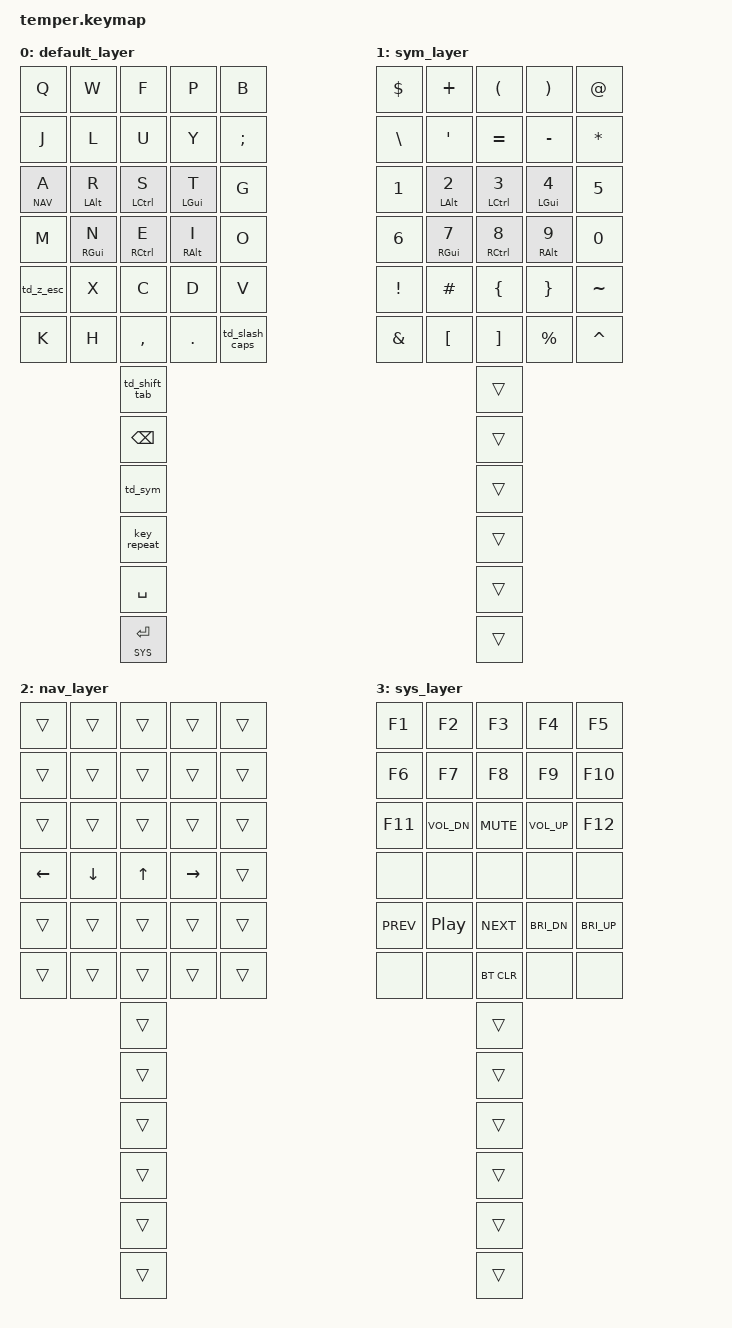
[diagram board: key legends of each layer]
#include <behaviors.dtsi>
#include <dt-bindings/zmk/bt.h>
#include <dt-bindings/zmk/keys.h>
#include <dt-bindings/zmk/modifiers.h>

#define DEFAULT 0
#define SYM     1
#define NAV     2
#define SYS     3

#define MEH     LS(LA(LCTRL))

#define RIGHT_KEYS \
    5  6  7  8  9 \
    15 16 17 18 19 \
    25 26 27 28 29

#define LEFT_KEYS \
    0  1  2  3  4 \
    10 11 12 13 14 \
    20 21 22 23 24

/ {
    behaviors {
        hml: home_row_mod_left {
            compatible = "zmk,behavior-hold-tap";
            #binding-cells = <2>;
            flavor = "balanced";
            require-prior-idle-ms = <150>;
            tapping-term-ms = <280>;

            quick-tap-ms = <175>;
            bindings = <&kp>, <&kp>;
            hold-trigger-key-positions = <
                RIGHT_KEYS
            >;
            hold-trigger-on-release;
        };

        hmr: home_row_mod_right {
            compatible = "zmk,behavior-hold-tap";
            #binding-cells = <2>;
            flavor = "balanced";
            require-prior-idle-ms = <150>;
            tapping-term-ms = <280>;

            quick-tap-ms = <175>;
            bindings = <&kp>, <&kp>;
            hold-trigger-key-positions = <
                LEFT_KEYS
            >;
            hold-trigger-on-release;
        };

        nav_a: nav_a {
            compatible = "zmk,behavior-hold-tap";
            #binding-cells = <2>;
            flavor = "tap-preferred";
            tapping-term-ms = <200>;
            quick-tap-ms = <175>;
            bindings = <&mo>, <&kp>;
            hold-trigger-key-positions = <
                5  6  7  8  9
                15 16 17 18 19
                25 26 27 28 29
            >;
        };

        meh_sym: meh_sym {
            compatible = "zmk,behavior-hold-tap";
            #binding-cells = <2>;
            flavor = "tap-preferred";
            tapping-term-ms = <200>;
            bindings = <&kp>, <&sl>;
        };

        sym_double: sym_double {
            compatible = "zmk,behavior-hold-tap";
            #binding-cells = <2>;
            flavor = "tap-preferred";
            tapping-term-ms = <200>;
            bindings = <&mo>, <&sl>;
        };

        td_sym: td_sym {
            compatible = "zmk,behavior-tap-dance";
            #binding-cells = <0>;
            tapping-term-ms = <175>;
            bindings = <
                &meh_sym MEH SYM
                &sym_double SYM SYM
            >;
        };

        td_shift_tab: td_shift_tab {
            compatible = "zmk,behavior-tap-dance";
            #binding-cells = <0>;
            tapping-term-ms = <200>;
            bindings = <&sk LSHIFT>, <&kp TAB>;
        };

        td_z_esc: td_z_esc {
            compatible = "zmk,behavior-tap-dance";
            #binding-cells = <0>;
            tapping-term-ms = <200>;
            bindings = <&kp Z>, <&kp ESC>;
        };
        td_slash_caps: td_slash_caps {
            compatible = "zmk,behavior-tap-dance";
            #binding-cells = <0>;
            tapping-term-ms = <200>;
            bindings = <&kp SLASH>, <&kp CAPS>;
        };
    };

    keymap {
        compatible = "zmk,keymap";

        default_layer {
            bindings = <
                &kp Q        &kp W        &kp F        &kp P       &kp B
                &kp J        &kp L        &kp U        &kp Y       &kp SEMI

                &nav_a NAV A &hml LALT R  &hml LCTRL S &hml LGUI T &kp G
                &kp M        &hmr RGUI N  &hmr RCTRL E &hmr RALT I &kp O

                &td_z_esc    &kp X        &kp C        &kp D       &kp V
                &kp K        &kp H        &kp COMMA    &kp DOT     &td_slash_caps

                                          &td_shift_tab
                                          &kp BSPC
                                          &td_sym

                                          &key_repeat
                                          &kp SPACE
                                          &lt SYS ENTER
            >;
        };

        sym_layer {
            bindings = <
                &kp DLLR &kp PLUS     &kp LPAR     &kp RPAR     &kp AT
                &kp BSLH &kp SQT      &kp EQUAL    &kp MINUS    &kp ASTRK

                &kp N1   &hml LALT N2 &hml LCTL N3 &hml LGUI N4 &kp N5
                &kp N6   &hmr RGUI N7 &hmr RCTL N8 &hmr RALT N9 &kp N0

                &kp EXCL &kp HASH     &kp LBRC     &kp RBRC     &kp TILDE
                &kp AMPS &kp LBKT     &kp RBKT     &kp PRCNT    &kp CARET

                                      &trans
                                      &trans
                                      &trans

                                      &trans
                                      &trans
                                      &trans
            >;
        };

        nav_layer {
            bindings = <
                &trans   &trans   &trans &trans    &trans
                &trans   &trans   &trans &trans    &trans

                &trans   &trans   &trans &trans    &trans
                &kp LEFT &kp DOWN &kp UP &kp RIGHT &trans

                &trans   &trans   &trans &trans    &trans

                &trans   &trans   &trans &trans    &trans

                                  &trans
                                  &trans
                                  &trans

                                  &trans
                                  &trans
                                  &trans
            >;
        };

        sys_layer {
            bindings = <
                &kp F1     &kp F2       &kp F3     &kp F4       &kp F5
                &kp F6     &kp F7       &kp F8     &kp F9       &kp F10

                &kp F11    &kp C_VOL_DN &kp C_MUTE &kp C_VOL_UP &kp F12
                &none      &none        &none      &none        &none

                &kp C_PREV     &kp C_PP       &kp C_NEXT      &kp C_BRI_DN    &kp C_BRI_UP
                &none          &none          &bt BT_CLR      &none     &none

                                        &trans
                                        &trans
                                        &trans
        
                                        &trans
                                        &trans
                                        &trans
            >;
        };
    };
};

/*
 * ====================================================================
 * LAYOUT REFERENCE
 * ====================================================================
 *
 * DEFAULT
 *
 * ┌────┬────┬────┬────┬────┐     ┌────┬────┬────┬────┬────┐
 * │ Q  │ W  │ F  │ P  │ B  │     │ J  │ L  │ U  │ Y  │ ;  │
 * ├────┼────┼────┼────┼────┤     ├────┼────┼────┼────┼────┤
 * │ A  │ R  │ S  │ T  │ G  │     │ M  │ N  │ E  │ I  │ O  │
 * │NAV │ALT │CTL │GUI │    │     │    │GUI │CTL │ALT │    │
 * ├────┼────┼────┼────┼────┤     ├────┼────┼────┼────┼────┤
 * │ Z  │ X  │ C  │ D  │ V  │     │ K  │ H  │ ,  │ .  │ /  │
 * │ESC │    │    │    │    │     │    │    │    │    │    │
 * └────┴────┴────┴────┴────┘     └────┴────┴────┴────┴────┘
 *
 * T1:
 *   tap          = Sticky Shift
 *   double tap   = Tab
 *
 * T2:
 *   = Backspace
 *
 * T3:
 *   tap          = one-shot SYM
 *   hold         = MEH
 *   double tap   = one-shot SYM
 *   double+hold  = momentary SYM
 *
 * T4:
 *   = Repeat
 *
 * T5:
 *   = Space
 *
 * T6:
 *   tap          = Enter
 *   hold         = SYS
 *
 *
 * SYMBOLS
 *
 * ┌────┬────┬────┬────┬────┐     ┌────┬────┬────┬────┬────┐
 * │ $  │ +  │ (  │ )  │ @  │     │ |  │ '  │ =  │ _  │ *  │
 * ├────┼────┼────┼────┼────┤     ├────┼────┼────┼────┼────┤
 * │ 1  │ 2  │ 3  │ 4  │ 5  │     │ 6  │ 7  │ 8  │ 9  │ 0  │
 * ├────┼────┼────┼────┼────┤     ├────┼────┼────┼────┼────┤
 * │ !  │ #  │ {  │ }  │ ~  │     │ &  │ [  │ ]  │ %  │ ^  │
 * └────┴────┴────┴────┴────┘     └────┴────┴────┴────┴────┘
 *
 *
 * NAV
 *
 * ┌────┬────┬────┬────┬────┐     ┌────┬────┬────┬────┬────┐
 * │    │    │    │    │    │     │    │    │    │    │    │
 * ├────┼────┼────┼────┼────┤     ├────┼────┼────┼────┼────┤
 * │    │    │    │    │    │     │ ←  │ ↓  │ ↑  │ →  │    │
 * ├────┼────┼────┼────┼────┤     ├────┼────┼────┼────┼────┤
 * │    │    │    │    │    │     │    │    │    │    │    │
 * └────┴────┴────┴────┴────┘     └────┴────┴────┴────┴────┘
 *
 *
 * SYS
 *
 * ┌──────┬──────┬──────┬──────┬──────┐     ┌──────┬──────┬──────┬──────┬──────┐
 * │  F1  │  F2  │  F3  │  F4  │  F5  │     │  F6  │  F7  │  F8  │  F9  │ F10  │
 * ├──────┼──────┼──────┼──────┼──────┤     ├──────┼──────┼──────┼──────┼──────┤
 * │ F11  │ VOL- │ MUTE │ VOL+ │ F12  │     │      │      │      │      │      │
 * ├──────┼──────┼──────┼──────┼──────┤     ├──────┼──────┼──────┼──────┼──────┤
 * │ PREV │ PLAY │ NEXT │ BRI- │ BRI+ │     │      │      │      │      │RESET │
 * └──────┴──────┴──────┴──────┴──────┘     └──────┴──────┴──────┴──────┴──────┘
 */
